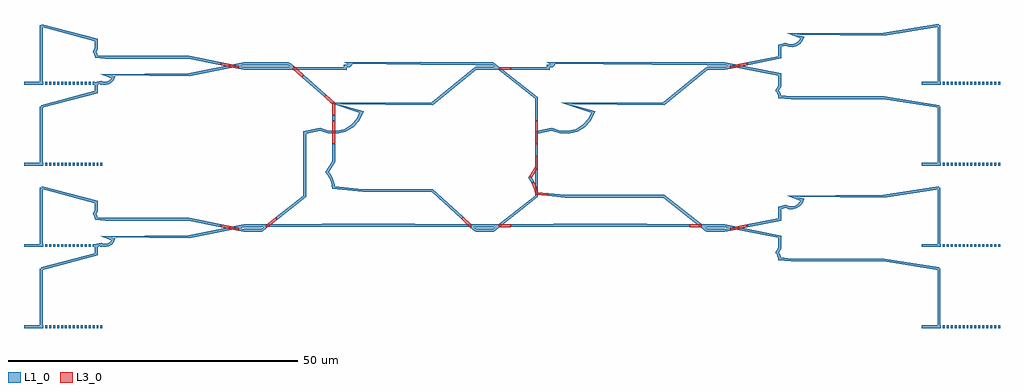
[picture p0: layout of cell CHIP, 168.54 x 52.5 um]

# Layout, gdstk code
import gdstk
lib = gdstk.Library(unit=1e-6, precision=1e-09)
def R(c, l, rs):  # rectangles x0, y0, x1, y1
    for r in rs: c.add(gdstk.rectangle(r[:2], r[2:], *l))
def A(c, l, x, y, w, h, nx, ny, dx, dy):  # array of equal rectangles
    R(c, l, [(x+i*dx, y+j*dy, x+i*dx+w, y+j*dy+h) for i in range(nx) for j in range(ny)])
L1_0 = (1, 0)
L3_0 = (3, 0)

chip = lib.new_cell('CHIP')
A(chip, L1_0, -15, -0.25, 0.34, 0.5, 16, 4, 0.68, 14)
A(chip, L1_0, 140, -0.25, 0.34, 0.5, 16, 4, 0.68, 14)
chip.add(gdstk.FlexPath([(20,17.4),(23,17.4)], 0.5, ends="flush", simple_path=True, layer=1, datatype=0))  # L1_0
chip.add(gdstk.FlexPath([(20,16.6),(23,16.6)], 0.5, ends="flush", simple_path=True, layer=1, datatype=0))  # L1_0
chip.add(gdstk.FlexPath([(20,45.4),(27.75,45.4)], 0.5, ends="flush", simple_path=True, layer=1, datatype=0))  # L1_0
chip.add(gdstk.FlexPath([(20,44.6),(27.75,44.6)], 0.5, ends="flush", simple_path=True, layer=1, datatype=0))  # L1_0
chip.add(gdstk.FlexPath([(60,17.4),(63,17.4)], 0.5, ends="flush", simple_path=True, layer=1, datatype=0))  # L1_0
chip.add(gdstk.FlexPath([(60,16.6),(63,16.6)], 0.5, ends="flush", simple_path=True, layer=1, datatype=0))  # L1_0
chip.add(gdstk.FlexPath([(60,45.4),(63,45.4)], 0.5, ends="flush", simple_path=True, layer=1, datatype=0))  # L1_0
chip.add(gdstk.FlexPath([(60,44.6),(63,44.6)], 0.5, ends="flush", simple_path=True, layer=1, datatype=0))  # L1_0
chip.add(gdstk.FlexPath([(100,17.4),(103,17.4)], 0.5, ends="flush", simple_path=True, layer=1, datatype=0))  # L1_0
chip.add(gdstk.FlexPath([(100,16.6),(103,16.6)], 0.5, ends="flush", simple_path=True, layer=1, datatype=0))  # L1_0
chip.add(gdstk.FlexPath([(100,45.4),(103,45.4)], 0.5, ends="flush", simple_path=True, layer=1, datatype=0))  # L1_0
chip.add(gdstk.FlexPath([(100,44.6),(103,44.6)], 0.5, ends="flush", simple_path=True, layer=1, datatype=0))  # L1_0
chip.add(gdstk.FlexPath([(-15,0),(-15,10)], 0.5, ends="flush", simple_path=True, layer=1, datatype=0))  # L1_0
chip.add(gdstk.FlexPath([(140,0),(140,10)], 0.5, ends="flush", simple_path=True, layer=1, datatype=0))  # L1_0
chip.add(gdstk.FlexPath([(-15,14),(-15,24)], 0.5, ends="flush", simple_path=True, layer=1, datatype=0))  # L1_0
chip.add(gdstk.FlexPath([(140,14),(140,24)], 0.5, ends="flush", simple_path=True, layer=1, datatype=0))  # L1_0
chip.add(gdstk.FlexPath([(-15,28),(-15,38)], 0.5, ends="flush", simple_path=True, layer=1, datatype=0))  # L1_0
chip.add(gdstk.FlexPath([(140,28),(140,38)], 0.5, ends="flush", simple_path=True, layer=1, datatype=0))  # L1_0
chip.add(gdstk.FlexPath([(-15,42),(-15,52)], 0.5, ends="flush", simple_path=True, layer=1, datatype=0))  # L1_0
chip.add(gdstk.FlexPath([(140,42),(140,52)], 0.5, ends="flush", simple_path=True, layer=1, datatype=0))  # L1_0
chip.add(gdstk.FlexPath([(-15,10),(-5.5,12.5),(-5.5,14),(-4.707,14.177),(-4.293,14.029),(-3.853,14.007),(-3.426,14.114),(-3.048,14.34),(-2.753,14.667),(-2.565,15.065),(-4,15.5),(10.5,15.5),(20,17.4)], 0.5, ends="flush", simple_path=True, layer=1, datatype=0))  # L1_0
chip.add(gdstk.FlexPath([(-15,24),(-5.5,21.5),(-5.5,20),(-5.84,19.452),(-5.753,19.333),(-5.677,19.207),(-5.614,19.074),(-5.565,18.935),(-5.529,18.793),(-5.507,18.647),(-4,18.5),(10.5,18.5),(16.039,17.392)], 0.5, ends="flush", simple_path=True, layer=1, datatype=0))  # L1_0
chip.add(gdstk.FlexPath([(16.039,17.392),(19.019,16.796)], 0.5, ends="flush", simple_path=True, layer=3, datatype=0))  # L3_0
chip.add(gdstk.FlexPath([(19.019,16.796),(20,16.6)], 0.5, ends="flush", simple_path=True, layer=1, datatype=0))  # L1_0
chip.add(gdstk.FlexPath([(-15,38),(-5.5,40.5),(-5.5,42),(-4.707,42.177),(-4.293,42.029),(-3.853,42.007),(-3.426,42.114),(-3.048,42.34),(-2.753,42.667),(-2.565,43.065),(-4,43.5),(10.5,43.5),(20,45.4)], 0.5, ends="flush", simple_path=True, layer=1, datatype=0))  # L1_0
chip.add(gdstk.FlexPath([(-15,52),(-5.5,49.5),(-5.5,48),(-5.84,47.452),(-5.753,47.333),(-5.677,47.207),(-5.614,47.074),(-5.565,46.935),(-5.529,46.793),(-5.507,46.647),(-4,46.5),(10.5,46.5),(16.039,45.392)], 0.5, ends="flush", simple_path=True, layer=1, datatype=0))  # L1_0
chip.add(gdstk.FlexPath([(16.039,45.392),(19.019,44.796)], 0.5, ends="flush", simple_path=True, layer=3, datatype=0))  # L3_0
chip.add(gdstk.FlexPath([(19.019,44.796),(20,44.6)], 0.5, ends="flush", simple_path=True, layer=1, datatype=0))  # L1_0
chip.add(gdstk.FlexPath([(23,17.4),(33.5,17.5),(49.5,17.5),(60,17.4)], 0.5, ends="flush", simple_path=True, layer=1, datatype=0))  # L1_0
chip.add(gdstk.FlexPath([(23,16.6),(23.786,17.218)], 0.5, ends="flush", simple_path=True, layer=1, datatype=0))  # L1_0
chip.add(gdstk.FlexPath([(23.786,17.218),(25.601,18.646)], 0.5, ends="flush", simple_path=True, layer=3, datatype=0))  # L3_0
chip.add(gdstk.FlexPath([(25.601,18.646),(30.5,22.5),(30.5,33.5),(33.143,34.09),(34.524,33.596),(35.99,33.524),(37.413,33.881),(38.672,34.635),(39.657,35.722),(40.285,37.049),(35.5,38.5),(52.5,38.5),(60,44.6)], 0.5, ends="flush", simple_path=True, layer=1, datatype=0))  # L1_0
chip.add(gdstk.FlexPath([(27.75,45.4),(28.497,44.735)], 0.5, ends="flush", simple_path=True, layer=1, datatype=0))  # L1_0
chip.add(gdstk.FlexPath([(28.497,44.735),(30.153,43.261)], 0.5, ends="flush", simple_path=True, layer=3, datatype=0))  # L3_0
chip.add(gdstk.FlexPath([(30.153,43.261),(34.006,39.83)], 0.5, ends="flush", simple_path=True, layer=1, datatype=0))  # L1_0
chip.add(gdstk.FlexPath([(34.006,39.83),(35.5,38.5),(35.5,36.5)], 0.5, ends="flush", simple_path=True, layer=3, datatype=0))  # L3_0
chip.add(gdstk.FlexPath([(35.5,36.5),(35.5,35.548)], 0.5, ends="flush", simple_path=True, layer=1, datatype=0))  # L1_0
chip.add(gdstk.FlexPath([(35.5,35.548),(35.5,31.548)], 0.5, ends="flush", simple_path=True, layer=3, datatype=0))  # L3_0
chip.add(gdstk.FlexPath([(35.5,31.548),(35.5,28.5),(34.365,26.672),(34.657,26.278),(34.91,25.857),(35.119,25.413),(35.285,24.951),(35.404,24.476),(35.476,23.99),(40.5,23.5),(52.5,23.5),(57.649,18.762)], 0.5, ends="flush", simple_path=True, layer=1, datatype=0))  # L1_0
chip.add(gdstk.FlexPath([(57.649,18.762),(59.264,17.277)], 0.5, ends="flush", simple_path=True, layer=3, datatype=0))  # L3_0
chip.add(gdstk.FlexPath([(59.264,17.277),(60,16.6)], 0.5, ends="flush", simple_path=True, layer=1, datatype=0))  # L1_0
chip.add(gdstk.FlexPath([(27.75,44.6),(37.5,44.5),(37.5,45),(37.764,45.059),(37.902,45.01),(38.049,45.002),(38.191,45.038),(38.317,45.114),(38.416,45.222),(38.478,45.355),(38,45.5),(50.5,45.5),(60,45.4)], 0.5, ends="flush", simple_path=True, layer=1, datatype=0))  # L1_0
chip.add(gdstk.FlexPath([(63,17.4),(64,17.41)], 0.5, ends="flush", simple_path=True, layer=1, datatype=0))  # L1_0
chip.add(gdstk.FlexPath([(64,17.41),(66.029,17.429)], 0.5, ends="flush", simple_path=True, layer=3, datatype=0))  # L3_0
chip.add(gdstk.FlexPath([(66.029,17.429),(73.5,17.5),(89.5,17.5),(96.971,17.429)], 0.5, ends="flush", simple_path=True, layer=1, datatype=0))  # L1_0
chip.add(gdstk.FlexPath([(96.971,17.429),(99,17.41)], 0.5, ends="flush", simple_path=True, layer=3, datatype=0))  # L3_0
chip.add(gdstk.FlexPath([(99,17.41),(100,17.4)], 0.5, ends="flush", simple_path=True, layer=1, datatype=0))  # L1_0
chip.add(gdstk.FlexPath([(63,16.6),(70.5,22.5),(70.5,33.5),(73.143,34.09),(74.524,33.596),(75.99,33.524),(77.413,33.881),(78.672,34.635),(79.657,35.722),(80.285,37.049),(75.5,38.5),(92.5,38.5),(100,44.6)], 0.5, ends="flush", simple_path=True, layer=1, datatype=0))  # L1_0
chip.add(gdstk.FlexPath([(63,45.4),(70.5,39.5),(70.5,35.5)], 0.5, ends="flush", simple_path=True, layer=1, datatype=0))  # L1_0
chip.add(gdstk.FlexPath([(70.5,35.5),(70.5,31.5)], 0.5, ends="flush", simple_path=True, layer=3, datatype=0))  # L3_0
chip.add(gdstk.FlexPath([(70.5,31.5),(70.5,29.5)], 0.5, ends="flush", simple_path=True, layer=1, datatype=0))  # L1_0
chip.add(gdstk.FlexPath([(70.5,29.5),(70.5,27.5),(69.445,25.801)], 0.5, ends="flush", simple_path=True, layer=3, datatype=0))  # L3_0
chip.add(gdstk.FlexPath([(69.445,25.801),(69.365,25.672),(69.657,25.278),(69.903,24.868)], 0.5, ends="flush", simple_path=True, layer=1, datatype=0))  # L1_0
chip.add(gdstk.FlexPath([(69.903,24.868),(69.91,24.857),(70.119,24.413),(70.285,23.951),(70.404,23.476),(70.476,22.99),(72.491,22.794)], 0.5, ends="flush", simple_path=True, layer=3, datatype=0))  # L3_0
chip.add(gdstk.FlexPath([(72.491,22.794),(75.5,22.5),(92.5,22.5),(100,16.6)], 0.5, ends="flush", simple_path=True, layer=1, datatype=0))  # L1_0
chip.add(gdstk.FlexPath([(63,44.6),(64,44.589)], 0.5, ends="flush", simple_path=True, layer=1, datatype=0))  # L1_0
chip.add(gdstk.FlexPath([(64,44.589),(66.031,44.568)], 0.5, ends="flush", simple_path=True, layer=3, datatype=0))  # L3_0
chip.add(gdstk.FlexPath([(66.031,44.568),(72.5,44.5),(72.5,45),(72.764,45.059),(72.902,45.01),(73.049,45.002),(73.191,45.038),(73.317,45.114),(73.416,45.222),(73.478,45.355),(73,45.5),(90.5,45.5),(100,45.4)], 0.5, ends="flush", simple_path=True, layer=1, datatype=0))  # L1_0
chip.add(gdstk.FlexPath([(103,17.4),(112.5,15.5),(112.5,13.5),(112.046,12.769),(112.163,12.611),(112.264,12.443),(112.348,12.265),(112.414,12.081),(112.462,11.89),(112.49,11.696),(114.5,11.5),(130.5,11.5),(140,10)], 0.5, ends="flush", simple_path=True, layer=1, datatype=0))  # L1_0
chip.add(gdstk.FlexPath([(103,16.6),(103.981,16.796)], 0.5, ends="flush", simple_path=True, layer=1, datatype=0))  # L1_0
chip.add(gdstk.FlexPath([(103.981,16.796),(106.961,17.392)], 0.5, ends="flush", simple_path=True, layer=3, datatype=0))  # L3_0
chip.add(gdstk.FlexPath([(106.961,17.392),(112.5,18.5),(112.5,20.5),(113.557,20.736),(114.11,20.538),(114.696,20.51),(115.265,20.652),(115.769,20.954),(116.163,21.389),(116.414,21.919),(114.5,22.5),(130.5,22.5),(140,24)], 0.5, ends="flush", simple_path=True, layer=1, datatype=0))  # L1_0
chip.add(gdstk.FlexPath([(103,45.4),(112.5,43.5),(112.5,41.5),(112.046,40.769),(112.163,40.611),(112.264,40.443),(112.348,40.265),(112.414,40.081),(112.462,39.89),(112.49,39.696),(114.5,39.5),(130.5,39.5),(140,38)], 0.5, ends="flush", simple_path=True, layer=1, datatype=0))  # L1_0
chip.add(gdstk.FlexPath([(103,44.6),(103.981,44.796)], 0.5, ends="flush", simple_path=True, layer=1, datatype=0))  # L1_0
chip.add(gdstk.FlexPath([(103.981,44.796),(106.961,45.392)], 0.5, ends="flush", simple_path=True, layer=3, datatype=0))  # L3_0
chip.add(gdstk.FlexPath([(106.961,45.392),(112.5,46.5),(112.5,48.5),(113.557,48.736),(114.11,48.538),(114.696,48.51),(115.265,48.652),(115.769,48.954),(116.163,49.389),(116.414,49.919),(114.5,50.5),(130.5,50.5),(140,52)], 0.5, ends="flush", simple_path=True, layer=1, datatype=0))  # L1_0
chip.add(gdstk.FlexPath([(-18,0),(-15,0)], 0.5, ends="flush", simple_path=True, layer=1, datatype=0))  # L1_0
chip.add(gdstk.FlexPath([(137,0),(140,0)], 0.5, ends="flush", simple_path=True, layer=1, datatype=0))  # L1_0
chip.add(gdstk.FlexPath([(-18,14),(-15,14)], 0.5, ends="flush", simple_path=True, layer=1, datatype=0))  # L1_0
chip.add(gdstk.FlexPath([(137,14),(140,14)], 0.5, ends="flush", simple_path=True, layer=1, datatype=0))  # L1_0
chip.add(gdstk.FlexPath([(-18,28),(-15,28)], 0.5, ends="flush", simple_path=True, layer=1, datatype=0))  # L1_0
chip.add(gdstk.FlexPath([(137,28),(140,28)], 0.5, ends="flush", simple_path=True, layer=1, datatype=0))  # L1_0
chip.add(gdstk.FlexPath([(-18,42),(-15,42)], 0.5, ends="flush", simple_path=True, layer=1, datatype=0))  # L1_0
chip.add(gdstk.FlexPath([(137,42),(140,42)], 0.5, ends="flush", simple_path=True, layer=1, datatype=0))  # L1_0

lib.write_gds('CHIP.gds')
